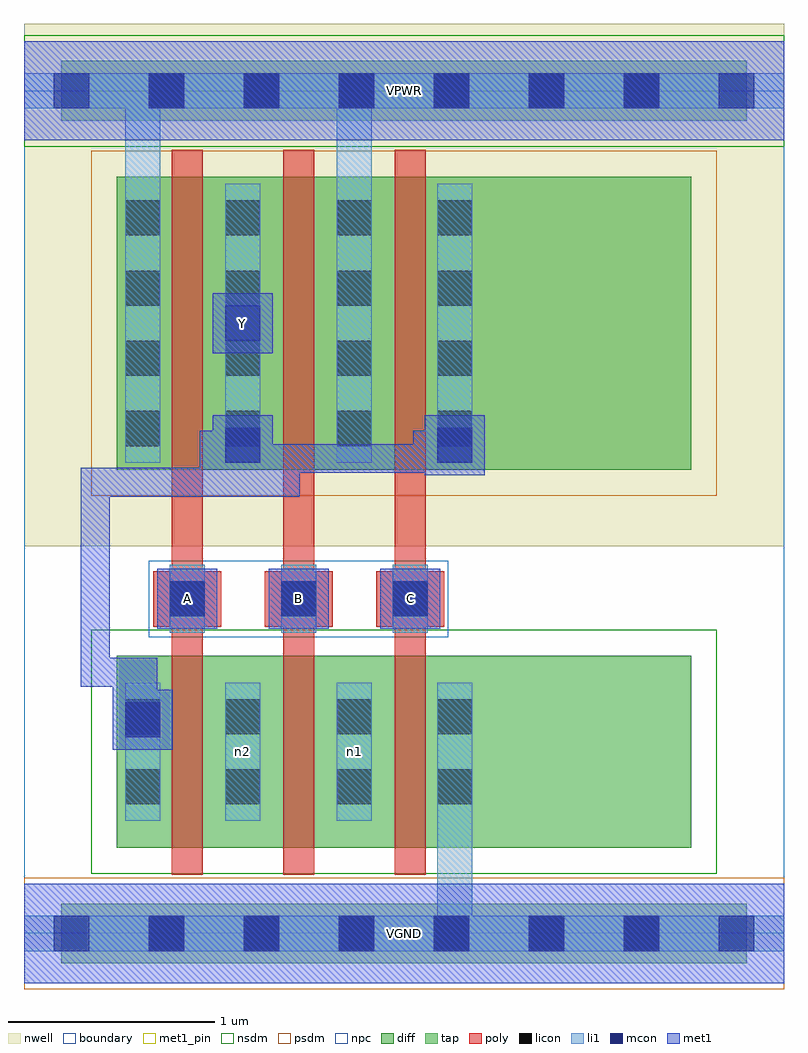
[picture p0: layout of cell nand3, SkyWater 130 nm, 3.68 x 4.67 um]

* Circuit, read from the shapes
.subckt nand3 A B C VGND VPWR Y n1 n2
XM1 n2 A Y VGND sky130_fd_pr__nfet_01v8 w=0.93 l=0.15
XM2 n1 B n2 VGND sky130_fd_pr__nfet_01v8 w=0.93 l=0.15
XM3 VGND C n1 VGND sky130_fd_pr__nfet_01v8 w=0.93 l=0.15
XM4 Y A VPWR VPWR sky130_fd_pr__pfet_01v8 w=1.42 l=0.15
XM5 VPWR B Y VPWR sky130_fd_pr__pfet_01v8 w=1.42 l=0.15
XM6 Y C VPWR VPWR sky130_fd_pr__pfet_01v8 w=1.42 l=0.15
.ends

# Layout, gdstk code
import gdstk
lib = gdstk.Library(unit=1e-6, precision=1e-09)
def R(c, l, rs):  # rectangles x0, y0, x1, y1
    for r in rs: c.add(gdstk.rectangle(r[:2], r[2:], *l))
def A(c, l, x, y, w, h, nx, ny, dx, dy):  # array of equal rectangles
    R(c, l, [(x+i*dx, y+j*dy, x+i*dx+w, y+j*dy+h) for i in range(nx) for j in range(ny)])
nwell = (64, 20)
diff = (65, 20)
tap = (65, 44)
poly = (66, 20)
licon = (66, 44)
li1 = (67, 20)
mcon = (67, 44)
met1_pin = (68, 16)
met1 = (68, 20)
nsdm = (93, 44)
psdm = (94, 20)
npc = (95, 20)
boundary = (235, 4)

nand3 = lib.new_cell('nand3')
R(nand3, nwell, [(0,1.875,3.68,4.405)])
R(nand3, diff, [(0.45,0.415,3.23,1.345), (0.45,2.245,3.23,3.665)])
R(nand3, tap, [(0.18,-0.145,3.5,0.145), (0.18,3.935,3.5,4.225)])
A(nand3, poly, 0.715, 0.285, 0.15, 3.51, 3, 1, 0.54, 0)
A(nand3, poly, 0.625, 1.485, 0.33, 0.27, 3, 1, 0.54, 0)
A(nand3, licon, 0.605, -0.085, 0.17, 0.17, 6, 2, 0.46, 4.08)
A(nand3, licon, 0.705, 1.535, 0.17, 0.17, 3, 1, 0.54, 0)
A(nand3, licon, 0.49, 2.36, 0.17, 0.17, 1, 4, 0, 0.34)
A(nand3, licon, 0.975, 2.36, 0.17, 0.17, 1, 4, 0, 0.34)
A(nand3, licon, 1.515, 2.36, 0.17, 0.17, 1, 4, 0, 0.34)
A(nand3, licon, 2, 2.36, 0.17, 0.17, 1, 4, 0, 0.34)
R(nand3, licon, [(0.49,0.625,0.66,0.795), (0.975,0.625,1.145,0.795), (1.515,0.625,1.685,0.795), (2,0.625,2.17,0.795), (0.49,0.965,0.66,1.135), (0.975,0.965,1.145,1.135), (1.515,0.965,1.685,1.135), (2,0.965,2.17,1.135)])
A(nand3, li1, 0.705, 1.455, 0.17, 0.33, 3, 1, 0.54, 0)
R(nand3, li1, [(0,-0.085,3.68,0.085), (2,-0.085,2.17,1.215), (0.49,0.545,0.66,1.215), (0.975,0.545,1.145,1.215), (1.515,0.545,1.685,1.215), (2,0.545,2.17,1.215), (0.49,2.28,0.66,3.63), (0.49,2.28,0.66,4.165), (0.975,2.28,1.145,3.63), (1.515,2.28,1.685,3.63), (1.515,2.28,1.685,4.165), (2,2.28,2.17,3.63), (0,3.995,3.68,4.165)])
A(nand3, mcon, 0.145, -0.085, 0.17, 0.17, 8, 2, 0.46, 4.08)
A(nand3, mcon, 0.705, 1.535, 0.17, 0.17, 3, 1, 0.54, 0)
R(nand3, mcon, [(0.49,0.95,0.66,1.12), (0.975,2.28,1.145,2.45), (2,2.28,2.17,2.45), (0.975,2.87,1.145,3.04)])
A(nand3, met1_pin, 0.645, 1.475, 0.29, 0.29, 3, 1, 0.54, 0)
R(nand3, met1_pin, [(0,-0.24,3.68,0.24), (0.915,2.81,1.205,3.1), (0,3.84,3.68,4.32)])
A(nand3, met1, 0.645, 1.475, 0.29, 0.29, 3, 1, 0.54, 0)
R(nand3, met1, [(0,-0.24,3.68,0.24), (0.43,0.89,0.72,1.18), (0.505,0.965,0.645,1.335), (0.43,1.18,0.645,1.195), (0.275,1.195,0.645,1.335), (0.275,1.195,0.415,2.255), (0.275,2.115,0.99,2.255), (0.85,2.115,0.99,2.435), (0.85,2.115,1.335,2.255), (1.195,2.115,1.335,2.37), (0.915,2.22,1.205,2.51), (1.94,2.22,2.23,2.51), (1.195,2.23,2.025,2.37), (1.885,2.23,2.025,2.435), (0.85,2.255,1.13,2.295), (0.85,2.295,1.13,2.435), (1.885,2.295,2.155,2.435), (0.915,2.81,1.205,3.1), (0,3.84,3.68,4.32)])
R(nand3, nsdm, [(0.325,0.29,3.355,1.47), (0,3.81,3.68,4.35)])
R(nand3, psdm, [(0,-0.27,3.68,0.27), (0.325,2.12,3.355,3.79)])
R(nand3, npc, [(0.605,1.435,2.055,1.805)])
R(nand3, boundary, [(0,0,3.68,4.08)])
nand3.add(gdstk.Label('n2', (1.06,0.88), layer=67, texttype=5))
nand3.add(gdstk.Label('n1', (1.6,0.88), layer=67, texttype=5))
nand3.add(gdstk.Label('A', (0.79,1.62), layer=68, texttype=5))
nand3.add(gdstk.Label('B', (1.33,1.62), layer=68, texttype=5))
nand3.add(gdstk.Label('C', (1.87,1.62), layer=68, texttype=5))
nand3.add(gdstk.Label('Y', (1.06,2.955), layer=68, texttype=5))
nand3.add(gdstk.Label('VPWR', (1.84,4.08), layer=68, texttype=5))
nand3.add(gdstk.Label('VGND', (1.84,0), layer=68, texttype=5))
nand3.add(gdstk.Label('A', (0.79,1.62), layer=68, texttype=16))
nand3.add(gdstk.Label('B', (1.33,1.62), layer=68, texttype=16))
nand3.add(gdstk.Label('C', (1.87,1.62), layer=68, texttype=16))
nand3.add(gdstk.Label('Y', (1.06,2.955), layer=68, texttype=16))
nand3.add(gdstk.Label('VPWR', (1.84,4.08), layer=68, texttype=16))
nand3.add(gdstk.Label('VGND', (1.84,0), layer=68, texttype=16))

lib.write_gds('nand3.gds')
